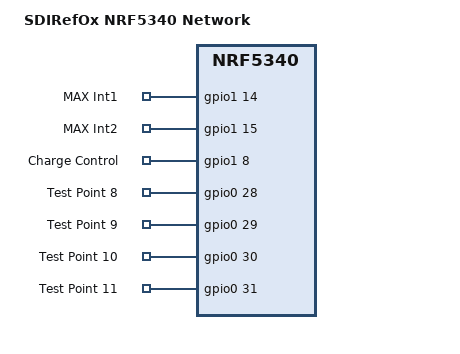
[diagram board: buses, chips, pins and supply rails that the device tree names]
/*
 * Copyright (c) 2020 Nordic Semiconductor ASA
 *
 * SPDX-License-Identifier: Apache-2.0
 */

/dts-v1/;
#include <nordic/nrf5340_cpunet_qkaa.dtsi>
#include "sdirefox_nrf5340_cpunet-pinctrl.dtsi"

/ {
	model = "SDIRefOx NRF5340 Network";
	compatible = "nordic,sdirefox-nrf5340-cpunet";

	chosen {
		zephyr,bt-hci-rpmsg-ipc = &ipc0;
		zephyr,sram = &sram1;
		zephyr,flash = &flash1;
		zephyr,code-partition = &slot0_partition;
	};

	control {
		compatible = "gpio-keys";
		maxint1: maxint_1 {
			gpios = <&gpio1 14 (GPIO_ACTIVE_HIGH)>;
			label = "MAX Int1";
		};
		maxint2: maxint_2 {
			gpios = <&gpio1 15 (GPIO_ACTIVE_HIGH)>;
			label = "MAX Int2";
		};
		chrgctl: chrg_ctl {
			gpios = <&gpio1 8 (GPIO_ACTIVE_HIGH)>;
			label = "Charge Control";
		};
		testpt8: testpt_8 {
			gpios = <&gpio0 28 (GPIO_ACTIVE_HIGH)>;
			label = "Test Point 8";
		};
		testpt9: testpt_9 {
			gpios = <&gpio0 29 (GPIO_ACTIVE_HIGH)>;
			label = "Test Point 9";
		};
		testpt10: testpt_10 {
			gpios = <&gpio0 30 (GPIO_ACTIVE_HIGH)>;
			label = "Test Point 10";
		};
		testpt11: testpt_11 {
			gpios = <&gpio0 31 (GPIO_ACTIVE_HIGH)>;
			label = "Test Point 11";
		};
	};
};

&gpiote {
	status = "okay";
};

&gpio0 {
	status = "okay";
};

&gpio1 {
	status = "okay";
};

&flash1 {

	partitions {
		compatible = "fixed-partitions";
		#address-cells = <1>;
		#size-cells = <1>;

		boot_partition: partition@0 {
			label = "mcuboot";
			reg = <0x00000000 0xc000>;
		};
		slot0_partition: partition@c000 {
			label = "image-0";
			reg = <0x0000C000 0x12000>;
		};
		slot1_partition: partition@1e000 {
			label = "image-1";
			reg = <0x0001E000 0x12000>;
		};
		scratch_partition: partition@30000 {
			label = "image-scratch";
			reg = <0x00030000 0xa000>;
		};
		storage_partition: partition@3a000 {
			label = "storage";
			reg = <0x0003a000 0x6000>;
		};
	};
};

/* Include shared RAM configuration file */
#include "nrf5340_shared_sram_planning_conf.dts"
